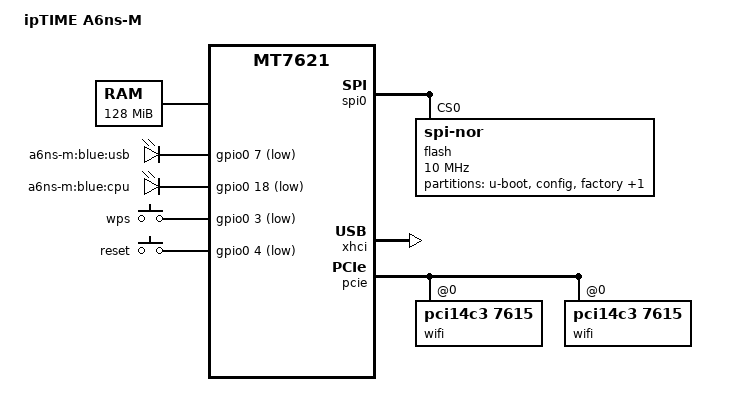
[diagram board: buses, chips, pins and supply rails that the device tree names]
/dts-v1/;

#include "mt7621.dtsi"

#include <dt-bindings/gpio/gpio.h>
#include <dt-bindings/input/input.h>

/ {
	compatible = "iptime,a6ns-m", "mediatek,mt7621-soc";
	model = "ipTIME A6ns-M";

	memory@0 {
		device_type = "memory";
		reg = <0x0 0x8000000>;
	};

	chosen {
		bootargs = "console=ttyS0,57600";
	};

	leds {
		compatible = "gpio-leds";

		usb {
			label = "a6ns-m:blue:usb";
			gpios = <&gpio0 7 GPIO_ACTIVE_LOW>;
		};

		cpu {
			label = "a6ns-m:blue:cpu";
			gpios = <&gpio0 18 GPIO_ACTIVE_LOW>;
		};
	};

	keys {
		compatible = "gpio-keys-polled";
		#address-cells = <1>;
		#size-cells = <0>;
		poll-interval = <20>;

		wps {
			label = "wps";
			gpios = <&gpio0 3 GPIO_ACTIVE_LOW>;
			linux,code = <KEY_WPS_BUTTON>;
		};

		reset {
			label = "reset";
			gpios = <&gpio0 4 GPIO_ACTIVE_LOW>;
			linux,code = <KEY_RESTART>;
		};
	};
};

&spi0 {
	status = "okay";

	flash@0 {
		#address-cells = <1>;
		#size-cells = <1>;
		compatible = "jedec,spi-nor";
		reg = <0>;
		spi-max-frequency = <10000000>;
		m25p,chunked-io = <32>;

		uboot: partition@0 {
			label = "u-boot";
			reg = <0x0 0x20000>;
			read-only;
		};

		partition@20000 {
			label = "config";
			reg = <0x20000 0x10000>;
			read-only;
		};

		factory: partition@30000 {
			label = "factory";
			reg = <0x30000 0x10000>;
			read-only;
		};

		partition@40000 {
			label = "firmware";
			reg = <0x40000 0xfc0000>;
		};
	};
};

&pinctrl {
	state_default: pinctrl0 {
		gpio {
			ralink,group = "i2c", "uart3", "wdt";
			ralink,function = "gpio";
		};
	};
};

&xhci {
	status = "okay";
};

&ethernet {
	mtd-mac-address = <&uboot 0x1fc20>;
};

&pcie {
	status = "okay";

	pcie0 {
		wifi@0,0 {
			compatible = "pci14c3,7615";
			reg = <0x0000 0 0 0 0>;
			// mediatek,mtd-eeprom = <&factory 0x0>;
			// ieee80211-freq-limit = <5000000 6000000>;
		};
	};

	pcie1 {
		wifi@0,0 {
			compatible = "pci14c3,7615";
			reg = <0x0000 0 0 0 0>;
			// mediatek,mtd-eeprom = <&factory 0x8000>;
			// ieee80211-freq-limit = <2400000 2500000>;
		};
	};
};
